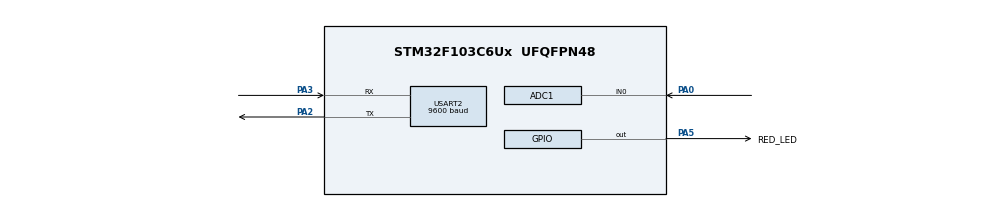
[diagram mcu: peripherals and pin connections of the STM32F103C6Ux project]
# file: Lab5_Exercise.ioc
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ADC1.Channel-2\#ChannelRegularConversion=ADC_CHANNEL_0
ADC1.ContinuousConvMode=ENABLE
ADC1.NbrOfConversionFlag=1
ADC1.Rank-2\#ChannelRegularConversion=1
ADC1.SamplingTime-2\#ChannelRegularConversion=ADC_SAMPLETIME_1CYCLE_5
ADC1.master=1
Mcu.Family=STM32F1
Mcu.Name=STM32F103C6Ux
Mcu.Package=UFQFPN48
NVIC.PriorityGroup=NVIC_PRIORITYGROUP_4
NVIC.TIM2_IRQn=true\:0\:0\:false\:false\:true\:true\:true
NVIC.USART2_IRQn=true\:0\:0\:false\:false\:true\:true\:true
PA0-WKUP.Signal=ADCx_IN0
PA2.Mode=Asynchronous
PA2.Signal=USART2_TX
PA3.Mode=Asynchronous
PA3.Signal=USART2_RX
PA5.GPIO_Label=RED_LED
PA5.Signal=GPIO_Output
ProjectManager.HeapSize=0x200
ProjectManager.StackSize=0x400
ProjectManager.TargetToolchain=STM32CubeIDE
RCC.APB1Freq_Value=8000000
RCC.APB2Freq_Value=8000000
SH.ADCx_IN0.0=ADC1_IN0,IN0
TIM2.Period=9
TIM2.Prescaler=7999
USART2.BaudRate=9600
USART2.VirtualMode=VM_ASYNC
VP_SYS_VS_ND.Mode=No_Debug
VP_TIM2_VS_ClockSourceINT.Mode=Internal
board=custom

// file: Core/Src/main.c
/* USER CODE BEGIN Header */
/**
  ******************************************************************************
  * @file           : main.c
  * @brief          : Main program body
  ******************************************************************************
  * @attention
  *
  * <h2><center>&copy; Copyright (c) 2024 STMicroelectronics.
  * All rights reserved.</center></h2>
  *
  * This software component is licensed by ST under BSD 3-Clause license,
  * the "License"; You may not use this file except in compliance with the
  * License. You may obtain a copy of the License at:
  *                        opensource.org/licenses/BSD-3-Clause
  *
  ******************************************************************************
  */
/* USER CODE END Header */
#include "main.h"

/* USER CODE BEGIN Includes */
#include <stdint.h>
#include <stdio.h>
#include "uart.h"
#include "command.h"
#include "scheduler.h"
#include "volt_sensor.h"
/* USER CODE END Includes */

ADC_HandleTypeDef hadc1;

TIM_HandleTypeDef htim2;

UART_HandleTypeDef huart2;

void SystemClock_Config(void);
static void MX_GPIO_Init(void);
static void MX_ADC1_Init(void);
static void MX_TIM2_Init(void);
static void MX_USART2_UART_Init(void);

/* USER CODE BEGIN 0 */
void blinking_led(void) {
	HAL_GPIO_TogglePin(RED_LED_GPIO_Port, RED_LED_Pin);
}
/* USER CODE END 0 */

int main(void)
{

  /* MCU Configuration--------------------------------------------------------*/

  /* Reset of all peripherals, Initializes the Flash interface and the Systick. */
  HAL_Init();

  /* Configure the system clock */
  SystemClock_Config();

  /* Initialize all configured peripherals */
  MX_GPIO_Init();
  MX_ADC1_Init();
  MX_TIM2_Init();
  MX_USART2_UART_Init();
  /* USER CODE BEGIN 2 */
  HAL_UART_Receive_IT(&huart2, &uartChar, 1);
  HAL_ADC_Start(&hadc1);
  HAL_TIM_Base_Start_IT(&htim2);
  SCH_Init();
  /* USER CODE END 2 */

  /* Infinite loop */
  /* USER CODE BEGIN WHILE */
  SCH_AddTask(blinking_led, 0, 1000);
  SCH_AddTask(uartRead, 0, SCH_TIMER_TICK);
  while (1)
  {
	  SCH_Dispatch();
    /* USER CODE END WHILE */

  }
}

void SystemClock_Config(void)
{
  RCC_OscInitTypeDef RCC_OscInitStruct = {0};
  RCC_ClkInitTypeDef RCC_ClkInitStruct = {0};
  RCC_PeriphCLKInitTypeDef PeriphClkInit = {0};

  /** Initializes the RCC Oscillators according to the specified parameters
  * in the RCC_OscInitTypeDef structure.
  */
  RCC_OscInitStruct.OscillatorType = RCC_OSCILLATORTYPE_HSI;
  RCC_OscInitStruct.HSIState = RCC_HSI_ON;
  RCC_OscInitStruct.HSICalibrationValue = RCC_HSICALIBRATION_DEFAULT;
  RCC_OscInitStruct.PLL.PLLState = RCC_PLL_NONE;
  if (HAL_RCC_OscConfig(&RCC_OscInitStruct) != HAL_OK)
  {
    Error_Handler();
  }
  /** Initializes the CPU, AHB and APB buses clocks
  */
  RCC_ClkInitStruct.ClockType = RCC_CLOCKTYPE_HCLK|RCC_CLOCKTYPE_SYSCLK
                              |RCC_CLOCKTYPE_PCLK1|RCC_CLOCKTYPE_PCLK2;
  RCC_ClkInitStruct.SYSCLKSource = RCC_SYSCLKSOURCE_HSI;
  RCC_ClkInitStruct.AHBCLKDivider = RCC_SYSCLK_DIV1;
  RCC_ClkInitStruct.APB1CLKDivider = RCC_HCLK_DIV1;
  RCC_ClkInitStruct.APB2CLKDivider = RCC_HCLK_DIV1;

  if (HAL_RCC_ClockConfig(&RCC_ClkInitStruct, FLASH_LATENCY_0) != HAL_OK)
  {
    Error_Handler();
  }
  PeriphClkInit.PeriphClockSelection = RCC_PERIPHCLK_ADC;
  PeriphClkInit.AdcClockSelection = RCC_ADCPCLK2_DIV2;
  if (HAL_RCCEx_PeriphCLKConfig(&PeriphClkInit) != HAL_OK)
  {
    Error_Handler();
  }
}

static void MX_ADC1_Init(void)
{

  ADC_ChannelConfTypeDef sConfig = {0};

  /** Common config
  */
  hadc1.Instance = ADC1;
  hadc1.Init.ScanConvMode = ADC_SCAN_DISABLE;
  hadc1.Init.ContinuousConvMode = ENABLE;
  hadc1.Init.DiscontinuousConvMode = DISABLE;
  hadc1.Init.ExternalTrigConv = ADC_SOFTWARE_START;
  hadc1.Init.DataAlign = ADC_DATAALIGN_RIGHT;
  hadc1.Init.NbrOfConversion = 1;
  if (HAL_ADC_Init(&hadc1) != HAL_OK)
  {
    Error_Handler();
  }
  /** Configure Regular Channel
  */
  sConfig.Channel = ADC_CHANNEL_0;
  sConfig.Rank = ADC_REGULAR_RANK_1;
  sConfig.SamplingTime = ADC_SAMPLETIME_1CYCLE_5;
  if (HAL_ADC_ConfigChannel(&hadc1, &sConfig) != HAL_OK)
  {
    Error_Handler();
  }

}

static void MX_TIM2_Init(void)
{

  TIM_ClockConfigTypeDef sClockSourceConfig = {0};
  TIM_MasterConfigTypeDef sMasterConfig = {0};

  htim2.Instance = TIM2;
  htim2.Init.Prescaler = 7999;
  htim2.Init.CounterMode = TIM_COUNTERMODE_UP;
  htim2.Init.Period = 9;
  htim2.Init.ClockDivision = TIM_CLOCKDIVISION_DIV1;
  htim2.Init.AutoReloadPreload = TIM_AUTORELOAD_PRELOAD_DISABLE;
  if (HAL_TIM_Base_Init(&htim2) != HAL_OK)
  {
    Error_Handler();
  }
  sClockSourceConfig.ClockSource = TIM_CLOCKSOURCE_INTERNAL;
  if (HAL_TIM_ConfigClockSource(&htim2, &sClockSourceConfig) != HAL_OK)
  {
    Error_Handler();
  }
  sMasterConfig.MasterOutputTrigger = TIM_TRGO_RESET;
  sMasterConfig.MasterSlaveMode = TIM_MASTERSLAVEMODE_DISABLE;
  if (HAL_TIMEx_MasterConfigSynchronization(&htim2, &sMasterConfig) != HAL_OK)
  {
    Error_Handler();
  }

}

static void MX_USART2_UART_Init(void)
{

  huart2.Instance = USART2;
  huart2.Init.BaudRate = 9600;
  huart2.Init.WordLength = UART_WORDLENGTH_8B;
  huart2.Init.StopBits = UART_STOPBITS_1;
  huart2.Init.Parity = UART_PARITY_NONE;
  huart2.Init.Mode = UART_MODE_TX_RX;
  huart2.Init.HwFlowCtl = UART_HWCONTROL_NONE;
  huart2.Init.OverSampling = UART_OVERSAMPLING_16;
  if (HAL_UART_Init(&huart2) != HAL_OK)
  {
    Error_Handler();
  }

}

static void MX_GPIO_Init(void)
{
  GPIO_InitTypeDef GPIO_InitStruct = {0};

  /* GPIO Ports Clock Enable */
  __HAL_RCC_GPIOA_CLK_ENABLE();

  /*Configure GPIO pin Output Level */
  HAL_GPIO_WritePin(RED_LED_GPIO_Port, RED_LED_Pin, GPIO_PIN_RESET);

  /*Configure GPIO pin : RED_LED_Pin */
  GPIO_InitStruct.Pin = RED_LED_Pin;
  GPIO_InitStruct.Mode = GPIO_MODE_OUTPUT_PP;
  GPIO_InitStruct.Pull = GPIO_NOPULL;
  GPIO_InitStruct.Speed = GPIO_SPEED_FREQ_LOW;
  HAL_GPIO_Init(RED_LED_GPIO_Port, &GPIO_InitStruct);

}

/* USER CODE BEGIN 4 */
void HAL_TIM_PeriodElapsedCallback(TIM_HandleTypeDef *htim) {
	if (htim->Instance == TIM2) {
		SCH_Update();
	}
}
/* USER CODE END 4 */

void Error_Handler(void)
{
  __disable_irq();
  while (1)
  {
  }
}

/************************ (C) COPYRIGHT STMicroelectronics *****END OF FILE****/
